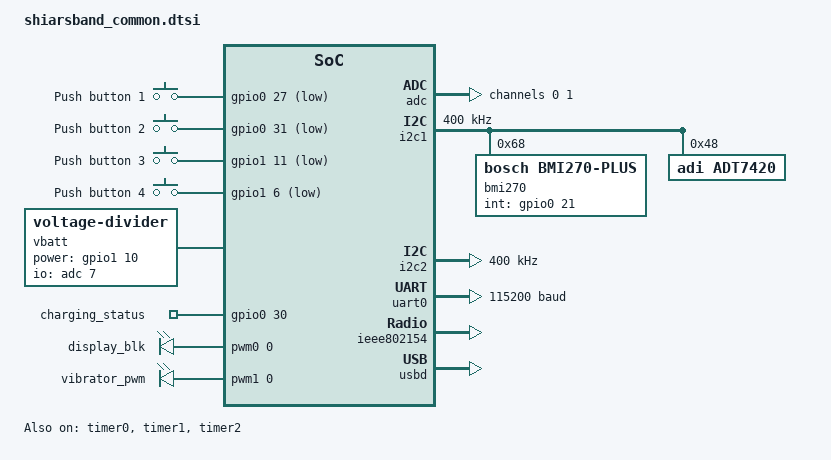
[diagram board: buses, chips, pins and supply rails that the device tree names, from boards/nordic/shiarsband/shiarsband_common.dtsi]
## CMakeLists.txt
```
cmake_minimum_required(VERSION 3.20.0)

set(BOARD_ROOT ${CMAKE_CURRENT_SOURCE_DIR})


message(STATUS "Current source directory: ${CMAKE_CURRENT_SOURCE_DIR}")

find_package(Zephyr REQUIRED HINTS $ENV{ZEPHYR_BASE})

project(shiars_band_app)
zephyr_include_directories(${ZEPHYR_BASE}/modules/lvgl)

add_subdirectory(drivers)


include_directories(src/)
# add_subdirectory(drivers)


# Include the source files from the main folder
FILE(GLOB app_sources src/*.c)
target_sources(app PRIVATE ${app_sources})

# Include source and header files from the subdirectories:
FILE(GLOB_RECURSE SOURCE_FILES 
    LIST_DIRECTORIES false
    "${CMAKE_CURRENT_SOURCE_DIR}/src/*/*.c"
    )

# Add source to the app target
target_sources(app PRIVATE ${SOURCE_FILES})
```

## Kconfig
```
menu "Zephyr Kernel"
    source "Kconfig.zephyr"
endmenu

menu "SHIARS Band"
config APP_VERSION
    string "Application version"
    default "1.0.0"
    help
      Defines the version of the application.
endmenu

    menu "boardtype"
    config USED_BOARD_ID
        int "used board id configuration"
        range 0 1
        default 0
        help
           0 - ublox dk board
           1 - zswatch board
    endmenu


menu "Nordic LED-Button BLE GATT service sample"

config BT_LBS_SECURITY_ENABLED
	bool "Enable security"
	default y
	select BT_SMP
	select BT_SETTINGS
	select FLASH
	select FLASH_PAGE_LAYOUT
	select FLASH_MAP
	select ZMS if SOC_FLASH_NRF_RRAM
	select NVS if !SOC_FLASH_NRF_RRAM
	select SETTINGS
	help
	  "Enable BLE security for the LED-Button service"

endmenu

#  menu "External"
#         choice EXTERNAL_BOSCH_SENSOR
#             bool
#             prompt "Select the function for the Bosch environment sensor."
#             help
#                 You have to disable the BME680 option in the Zephyr configuration to enable the Bosch BSEC option.
#             def_bool EXTERNAL_USE_BOSCH_BME688

#         config EXTERNAL_USE_BOSCH_BSEC
#             prompt "Use Bosch BSEC library"
#             depends on !BME680
#             select BME68X_EXT_IAQ

#         config EXTERNAL_USE_BOSCH_BME688
#             prompt "Use standard BME680 driver from Zephyr"
#         endchoice
#     endmenu
    
 rsource "drivers/Kconfig"


module = APP
module-str = APP
source "subsys/logging/Kconfig.template.log_config"
```

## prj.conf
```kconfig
CONFIG_MAIN_STACK_SIZE=2048
CONFIG_SYSTEM_WORKQUEUE_STACK_SIZE=10000
CONFIG_HEAP_MEM_POOL_SIZE=32000
CONFIG_CBPRINTF_FP_SUPPORT=y
CONFIG_DEBUG_THREAD_INFO=y

CONFIG_USED_BOARD_ID=0

CONFIG_ASSERT=y
CONFIG_REBOOT=y
CONFIG_BASE64=y

CONFIG_RETAINED_MEM=y
CONFIG_RETENTION=y
CONFIG_RETENTION_BOOT_MODE=y


CONFIG_GPIO=y
CONFIG_I2C=y
CONFIG_SENSOR=y
CONFIG_ADC=y
CONFIG_SPI=y

CONFIG_ADT7420=y
#CONFIG_BME680=y
#CONFIG_EXTERNAL_USE_BOSCH_BSEC=y
CONFIG_BMI270_PLUS=y
CONFIG_BMI270_PLUS_TRIGGER_GLOBAL_THREAD=y

# Display Settings 
# CONFIG_DISPLAY=y
# CONFIG_DISPLAY_LOG_LEVEL_ERR=n
# CONFIG_GC9A01=y
# #kscan

CONFIG_PINCTRL=y
CONFIG_PM_DEVICE=y
CONFIG_PM_DEVICE_RUNTIME=y

CONFIG_COUNTER=y
CONFIG_NRFX_TIMER1=y

CONFIG_REGULATOR=y
CONFIG_REGULATOR_FIXED=y

# NVS
CONFIG_FLASH=y
CONFIG_FLASH_MAP=y
CONFIG_MPU_ALLOW_FLASH_WRITE=y
CONFIG_FLASH_PAGE_LAYOUT=y
CONFIG_FLASH_MAP_LABELS=y

CONFIG_SETTINGS=y
CONFIG_NVS=y

# Bluetooth
CONFIG_BT=y
CONFIG_BT_HCI=y
CONFIG_BT_HCI_ACL_FLOW_CONTROL=y
CONFIG_BT_CTLR=n
# Enable chaining of multiple CTEs in periodic advertising
# CONFIG_BT_DEBUG_LOG=n

# Enable the LBS service
CONFIG_BT_LBS=y
CONFIG_BT_LBS_POLL_BUTTON=y
CONFIG_DK_LIBRARY=y

CONFIG_BT_SMP=y
CONFIG_BT_PERIPHERAL=y
CONFIG_BT_DIS=y
CONFIG_BT_DIS_PNP=n
CONFIG_BT_DIS_HW_REV=y
CONFIG_BT_DIS_MODEL="SHIARS"
CONFIG_BT_BAS=y
CONFIG_BT_HRS=n
CONFIG_BT_DEVICE_NAME="ELDGEEL"

# CONFIG_CRYPTO=y
# CONFIG_CRYPTO_AES=y

CONFIG_BT_DEVICE_APPEARANCE=194
CONFIG_BT_KEYS_OVERWRITE_OLDEST=y
CONFIG_BT_SETTINGS=y
CONFIG_BT_MAX_PAIRED=5
CONFIG_BT_MAX_CONN=1
CONFIG_BT_GATT_CLIENT=y
CONFIG_BT_GATT_CACHING=y
CONFIG_BT_GATT_NOTIFY_MULTIPLE=y

CONFIG_BT_BROADCASTER=y
CONFIG_BT_SMP_ALLOW_UNAUTH_OVERWRITE=y
CONFIG_BT_ECC=y
CONFIG_BT_CONN_TX_MAX=3

CONFIG_BT_L2CAP_TX_MTU=498
CONFIG_BT_BUF_ACL_RX_SIZE=502
CONFIG_BT_BUF_ACL_TX_SIZE=502

# Don't change this
CONFIG_BT_RECV_WORKQ_SYS=y

CONFIG_PICOLIBC=y
CONFIG_PICOLIBC_IO_FLOAT=y
CONFIG_POSIX_API=y

# Z-Bus
CONFIG_ZBUS=y
CONFIG_ZBUS_RUNTIME_OBSERVERS=y
CONFIG_ZBUS_CHANNEL_NAME=y
CONFIG_ZBUS_OBSERVER_NAME=y
CONFIG_ZBUS_CHANNELS_SYS_INIT_PRIORITY=1

CONFIG_RESET_ON_FATAL_ERROR=y

CONFIG_DEBUG_COREDUMP=y
CONFIG_DEBUG_COREDUMP_MEMORY_DUMP_MIN=y
CONFIG_RETENTION_MUTEX_FORCE_DISABLE=y
CONFIG_RETAINED_MEM_MUTEX_FORCE_DISABLE=y
CONFIG_RETENTION_BUFFER_SIZE=256

CONFIG_CJSON_LIB=y

CONFIG_PRINTK=y
# Logging
CONFIG_LOG=y
CONFIG_LOG_MODE_MINIMAL=y
CONFIG_SERIAL=y
CONFIG_CONSOLE=y
CONFIG_UART_CONSOLE=y

CONFIG_JSON_LIBRARY=y

CONFIG_APP_VERSION="1.0.1"
```

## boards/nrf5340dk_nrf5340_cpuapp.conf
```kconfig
#---------------
# FLASH
#-----------------
CONFIG_FLASH=y
CONFIG_FLASH_PAGE_LAYOUT=y
CONFIG_STREAM_FLASH=y
CONFIG_FLASH_MAP=y
CONFIG_NVS=y
CONFIG_NORDIC_QSPI_NOR=y
CONFIG_NORDIC_QSPI_NOR_FLASH_LAYOUT_PAGE_SIZE=4096

CONFIG_MPU_ALLOW_FLASH_WRITE=y

CONFIG_FILE_SYSTEM=y
CONFIG_FILE_SYSTEM_LITTLEFS=y
CONFIG_LV_Z_USE_FILESYSTEM=y
CONFIG_LV_IMG_CACHE_DEF_SIZE=10

CONFIG_FS_LITTLEFS_FC_HEAP_SIZE=16384

CONFIG_SPI_FLASH_LOADER=y

# NCS Partition Manager
# Make sure size matches dts
CONFIG_PM_PARTITION_REGION_SETTINGS_STORAGE_EXTERNAL=y
CONFIG_PM_PARTITION_SIZE_SETTINGS_STORAGE=0x100000
CONFIG_PM_PARTITION_REGION_LITTLEFS_EXTERNAL=y

# BME688 
# CONFIG_BME680=y


#---------------
# FLASH
#-----------------
CONFIG_FLASH=y
CONFIG_FLASH_PAGE_LAYOUT=y
CONFIG_STREAM_FLASH=y
CONFIG_FLASH_MAP=y
CONFIG_NVS=y
CONFIG_NORDIC_QSPI_NOR=y
CONFIG_NORDIC_QSPI_NOR_FLASH_LAYOUT_PAGE_SIZE=4096

CONFIG_MPU_ALLOW_FLASH_WRITE=y

CONFIG_FILE_SYSTEM=y
CONFIG_FILE_SYSTEM_LITTLEFS=y
CONFIG_LV_Z_USE_FILESYSTEM=y
CONFIG_LV_IMG_CACHE_DEF_SIZE=10

CONFIG_FS_LITTLEFS_FC_HEAP_SIZE=16384

CONFIG_PM_PARTITION_REGION_SETTINGS_STORAGE_EXTERNAL=y
CONFIG_PM_PARTITION_SIZE_SETTINGS_STORAGE=0x100000
```

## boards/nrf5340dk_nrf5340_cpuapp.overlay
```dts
&pinctrl {
    // Set to I2C pins that the sensors are connected to
    i2c1_default: i2c1_default {
        group1 {
            psels = <NRF_PSEL(TWIM_SDA, 1, 2)>,
                <NRF_PSEL(TWIM_SCL, 1, 3)>;
        };
    };

    i2c1_sleep: i2c1_sleep {
        group1 {
            psels = <NRF_PSEL(TWIM_SDA, 1, 2)>,
                <NRF_PSEL(TWIM_SCL, 1, 3)>;
            low-power-enable;
        };
    };

    // Set to I2C pins that the touch screen is connected to
    i2c2_default: i2c2_default {
        group1 {
            psels = <NRF_PSEL(TWIM_SDA, 1, 13)>,
                <NRF_PSEL(TWIM_SCL, 1, 14)>;
        };
    };

    i2c2_sleep: i2c2_sleep {
        group1 {
            psels = <NRF_PSEL(TWIM_SDA, 1, 13)>,
                <NRF_PSEL(TWIM_SCL, 1, 14)>;
            low-power-enable;
        };
    };

};

/ {
    chosen {
        nordic,pm-ext-flash = &mx25r64;
    };
    
    aliases {
        sw-top-right = &button1;
        sw-top-left = &button0;
        sw-bottom-right = &button3;
        sw-bottom-left = &button2;
    };

    vbatt {
        compatible = "voltage-divider";
        io-channels = <&adc 7>;
        output-ohms = <220000>;
        full-ohms = <(1500000 + 220000)>;
        power-gpios = <&gpio1 10 0>;
        zephyr,deferred-init;
    };

    /* Joystick */
    joy_x{
        io-channels = <&adc 0>;
    };
    joy_y{
        io-channels = <&adc 1>;
    };

};

&adc {
    #address-cells = <1>;
	#size-cells = <0>;
    status = "okay";
    channel@0 {
		reg = <0>;
		zephyr,gain = "ADC_GAIN_1_6";
		zephyr,reference = "ADC_REF_INTERNAL";
		zephyr,acquisition-time = <ADC_ACQ_TIME_DEFAULT>;
		zephyr,input-positive = <NRF_SAADC_AIN0>; 
		zephyr,resolution = <12>;
	};
    channel@1 {
		reg = <1>;
		zephyr,gain = "ADC_GAIN_1_6";
		zephyr,reference = "ADC_REF_INTERNAL";
		zephyr,acquisition-time = <ADC_ACQ_TIME_DEFAULT>;
		zephyr,input-positive = <NRF_SAADC_AIN1>; 
		zephyr,resolution = <12>;
	};
};

&gpiote {
    status = "okay";
};

&gpio0 {
    status = "okay";
};

&gpio1 {
    status = "okay";
};

&i2c1 {
    compatible = "nordic,nrf-twim";
    status = "okay";
    clock-frequency = <I2C_BITRATE_FAST>;
    zephyr,concat-buf-size = <512>;
    pinctrl-0 = <&i2c1_default>;
    pinctrl-1 = <&i2c1_sleep>;
    pinctrl-names = "default", "sleep";


    bmi270: bmi270@68 {
        compatible = "bosch,bmi270-plus";
        reg = <0x68>;
        status = "okay";
        int-gpios = <&gpio0 21 (GPIO_PULL_DOWN | GPIO_ACTIVE_HIGH)>;
        invert-x;
        invert-y;
    };

    adt7420: adt7420@48 {
        status = "okay";
        compatible = "adi,adt7420";
        label="ADT7420";
        reg = <0x48>;
    };

    
      
};

&i2c2 {
    compatible = "nordic,nrf-twim";
    status = "okay";
    clock-frequency = <I2C_BITRATE_FAST>;
    pinctrl-0 = <&i2c2_default>;
    pinctrl-1 = <&i2c2_sleep>;
    pinctrl-names = "default", "sleep";

};
/ {
	fstab {
		compatible = "zephyr,fstab";
		lvgl_lfs: lvgl_lfs {
			compatible = "zephyr,fstab,littlefs";
			mount-point = "/lvgl_lfs";
			partition = <&littlefs_storage>;
			automount;
			read-size = <1024>;
			prog-size = <512>;
			cache-size = <4096>;
			lookahead-size = <4096>;
			block-cycles = <512>;
		};
	};
};

/delete-node/ &storage_partition;

&mx25r64 {
	partitions {
		compatible = "fixed-partitions";
		#address-cells = <1>;
		#size-cells = <1>;

		littlefs_storage: partition@0 {
			label = "littlefs_storage";
			reg = <0x00000000 0x00200000>;
		};
		lvgl_raw_partition: partition@200000 {
			label = "lvgl_raw_partition";
			reg = <0x00200000 0x00200000>;
		};
        storage_partition: partition@400000 {
            label = "storage_partition";
            reg = <0x400000 0x100000 >;
        };
	};
};

/ {
    sram@2007FEFF {
        compatible = "zephyr,memory-region", "mmio-sram";
        reg = <0x2007FEFF 0x100>;
        zephyr,memory-region = "RetainedMem";
        status = "okay";

        retainedmem {
            compatible = "zephyr,retained-ram";
            status = "okay";
            #address-cells = <1>;
            #size-cells = <1>;

            retention0: retention@0 {
                compatible = "zephyr,retention";
                status = "okay";
                reg = <0x0 0xFB>;
                prefix = [04 fa];
                checksum = <1>;
            };
            // Last byte in RAM is for boot mode.
            // Du to debugger only supports writing 4 bytes at a time
            // we need to leave a 3 byte gap between the two retention areas.
            retention1: retention@FF {
                compatible = "zephyr,retention";
                status = "okay";
                reg = <0xFF 0x1>;
            };
        };
    };

    chosen {
            zephyr,boot-mode = &retention1;
    };
};

/*
* Reduce SRAM0 usage by 256 bytes to account for non-init area.
* The last 256 bytes of SRAM0 are used for retention memory.
*/
&sram0 {
    reg = <0x20000000 0x7FEFF>;
};
```

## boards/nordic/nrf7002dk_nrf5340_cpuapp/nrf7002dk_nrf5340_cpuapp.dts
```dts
/dts-v1/;
#include <nordic/nrf52832_ciaa.dtsi>
#include "nrf7002dk_nrf5340_cpuapp-pinctrl.dtsi"

/ {
	model = "Custom Board auto generated by nRF Connect for VS Code";
	compatible = "nordic,custom-board-name";

	chosen {
		zephyr,sram = &sram0;
		zephyr,flash = &flash0;
		zephyr,code-partition = &slot0_partition;
	};
};

&flash0 {
	partitions {
		compatible = "fixed-partitions";
		#address-cells = <1>;
		#size-cells = <1>;

		boot_partition: partition@0 {
			label = "mcuboot";
			reg = <0x00000000 DT_SIZE_K(48)>;
		};

		slot0_partition: partition@c000 {
			label = "image-0";
			reg = <0x0000c000 DT_SIZE_K(220)>;
		};

		slot1_partition: partition@43000 {
			label = "image-1";
			reg = <0x00043000 DT_SIZE_K(220)>;
		};

		storage_partition: partition@7a000 {
			label = "storage";
			reg = <0x0007a000 DT_SIZE_K(24)>;
		};
	};
};
```

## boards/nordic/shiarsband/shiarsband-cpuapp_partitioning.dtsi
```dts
/*
 * Default Flash planning for Application MCU.
 *
 * Zephyr build for nRF5340 with ARM TrustZone-M support, implies building
 * Secure and Non-Secure Zephyr images.
 *
 * Secure image will be placed, by default, in flash0 (or in slot0, if MCUboot
 * is present). Secure image will use sram0 for system memory.
 *
 * Non-Secure image will be placed in slot0_ns, and use sram0_ns for system
 * memory.
 *
 * Note that the Secure image only requires knowledge of the beginning of the
 * Non-Secure image (not its size).
 */
// &flash0 {
// 	partitions {
// 		compatible = "fixed-partitions";
// 		#address-cells = <1>;
// 		#size-cells = <1>;

// 		boot_partition: partition@0 {
// 			label = "mcuboot";
// 			reg = <0x00000000 DT_SIZE_K(64)>;
// 		};

// 		slot0_partition: partition@10000 {
// 			label = "image-0";
// 			reg = <0x00010000 DT_SIZE_K(256)>;
// 		};

// 		slot0_ns_partition: partition@50000 {
// 			label = "image-0-nonsecure";
// 			reg = <0x00050000 DT_SIZE_K(192)>;
// 		};

// 		slot1_partition: partition@80000 {
// 			label = "image-1";
// 			reg = <0x00080000 DT_SIZE_K(256)>;
// 		};

// 		slot1_ns_partition: partition@c0000 {
// 			label = "image-1-nonsecure";
// 			reg = <0x000c0000 DT_SIZE_K(192)>;
// 		};

// 		/* 0xf0000 to 0xf7fff reserved for TF-M partitions */
// 		storage_partition: partition@f8000 {
// 			label = "storage";
// 			reg = <0x000f8000 DT_SIZE_K(32)>;
// 		};
// 	};
// };

/* Default SRAM planning when building for nRF5340 with ARM TrustZone-M support
 * - Lowest 256 kB SRAM allocated to Secure image (sram0_s)
 * - Middle 192 kB allocated to Non-Secure image (sram0_ns)
 * - Upper 64 kB SRAM allocated as Shared memory (sram0_shared)
 *   (see {board}_shared_sram.dtsi)
 */
// / {
// 	reserved-memory {
// 		#address-cells = <1>;
// 		#size-cells = <1>;
// 		ranges;

// 		/* Zephyr image(s) memory */
// 		sram0_image: image@20000000 {
// 			reg = <0x20000000 DT_SIZE_K(448)>;
// 		};

// 		/* Secure image memory */
// 		sram0_s: image_s@20000000 {
// 			reg = <0x20000000 DT_SIZE_K(256)>;
// 		};

// 		/* Non-Secure image memory */
// 		sram0_ns: image_ns@20040000 {
// 			reg = <0x20040000 DT_SIZE_K(192)>;
// 		};
// 	};
// };

&slot0_partition {
	reg = <0x00010000 0x40000>;
};

&slot0_ns_partition {
	reg = <0x00050000 0x30000>;
};

&slot1_partition {
	reg = <0x00080000 0x40000>;
};

&slot1_ns_partition {
	reg = <0x000c0000 0x30000>;
};

/* Default SRAM planning when building for nRF5340 with
 * ARM TrustZone-M support
 * - Lowest 256 kB SRAM allocated to Secure image (sram0_s)
 * - Middle 192 kB allocated to Non-Secure image (sram0_ns)
 * - Upper 64 kB SRAM allocated as Shared memory (sram0_shared)
 *   (see nrf5340_shared_sram_planning_conf.dtsi)
 */
 &sram0_image {
	reg = <0x20000000 DT_SIZE_K(448)>;
};

&sram0_s {
	reg = <0x20000000 0x40000>;
};

&sram0_ns {
	reg = <0x20040000 0x30000>;
};

#include "shiarsband-shared_sram.dtsi"
```

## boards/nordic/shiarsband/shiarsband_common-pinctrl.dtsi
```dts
/*
 * Copyright (c) 2022 Nordic Semiconductor
 * SPDX-License-Identifier: Apache-2.0
 */


 &pinctrl {
	/*Pin: Display Back Light */
		pwm0_default: pwm0_default {
			group1 {
				psels = <NRF_PSEL(PWM_OUT0, 0, 6)>;
			};
		};
	
		pwm0_sleep: pwm0_sleep {
			group1 {
				psels = <NRF_PSEL(PWM_OUT0, 0, 6)>;
				low-power-enable;
			};
		};
	/*Pin: Vibrator Motor driver */
		pwm1_default: pwm1_default {
			group1 {
				psels = <NRF_PSEL(PWM_OUT0, 1, 15)>;
			};
		};
	
		pwm1_sleep: pwm1_sleep {
			group1 {
				psels = <NRF_PSEL(PWM_OUT0, 1, 15)>;
				low-power-enable;
			};
		};
	/*Pin:  Sensor */
		i2c1_default: i2c1_default {
			group1 {
				psels = <NRF_PSEL(TWIM_SDA, 0, 10)>,
					<NRF_PSEL(TWIM_SCL, 0,7)>;
			};
		};
	
		i2c1_sleep: i2c1_sleep {
			group1 {
				psels = <NRF_PSEL(TWIM_SDA, 0, 10)>,
					<NRF_PSEL(TWIM_SCL, 0, 7)>;
				low-power-enable;
			};
		};
	/*Pin: tOUCH Sensors */
		i2c2_default: i2c2_default {
			group1 {
				psels = <NRF_PSEL(TWIM_SDA, 1, 2)>,
					<NRF_PSEL(TWIM_SCL, 1, 3)>;
			};
		};
	
		i2c2_sleep: i2c2_sleep {
			group1 {
				psels = <NRF_PSEL(TWIM_SDA, 1, 2)>,
					<NRF_PSEL(TWIM_SCL, 1, 3)>;
				low-power-enable;
			};
		};
	/*Pin: Display */
		uart0_default: uart0_default {
			group1 {
				psels = <NRF_PSEL(UART_TX, 1, 13)>;
			};
		};
	
		uart0_sleep: uart0_sleep {
			group1 {
				psels = <NRF_PSEL(UART_TX, 1, 13)>;
				low-power-enable;
			};
		};
		
	};
	
```

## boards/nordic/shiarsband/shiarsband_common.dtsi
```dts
#include "shiarsband_common-pinctrl.dtsi"

/{
    chosen{
        zephyr,console = &uart0;
		zephyr,shell-uart = &uart0;
		zephyr,uart-mcumgr = &uart0;
		zephyr,bt-mon-uart = &uart0;
		zephyr,bt-c2h-uart = &uart0;
        zephyr,bt-hci-ipc = &ipc0;
        zephyr,ieee802154 = &ieee802154;
    };
    
    buttons {
		compatible = "gpio-keys";
        button0: button_0 {
            gpios = <&gpio0 27 (GPIO_PULL_UP | GPIO_ACTIVE_LOW)>;
            label = "Push button 1";
        };
        button1: button_1 {
            gpios = <&gpio0 31 (GPIO_PULL_UP | GPIO_ACTIVE_LOW)>;
            label = "Push button 2";
        };
        button2: button_2 {
            gpios = <&gpio1 11 (GPIO_PULL_UP | GPIO_ACTIVE_LOW)>;
            label = "Push button 3";
        };
        button3: button_3 {
            gpios = <&gpio1 6 (GPIO_PULL_UP | GPIO_ACTIVE_LOW)>;
            label = "Push button 4";
        };
	};
    /*Pin: Battery Monitor */
	vbatt {
        compatible = "voltage-divider";
        io-channels = <&adc 7>;
        output-ohms = <220000>;
        full-ohms = <(1500000 + 220000)>;
        power-gpios = <&gpio1 10 0>;
    };
    /*Pin: Charger */
    charger {
        compatible = "gpio-keys";
        charging_status: charging_status {
            gpios = <&gpio0 30 (GPIO_PULL_UP | GPIO_ACTIVE_HIGH)>;
        };
    };
    /* Joystick */
    joy_x{
        io-channels = <&adc 0>;
    };
    joy_y{
        io-channels = <&adc 1>;
    };
    
    /* These aliases are provided for compatibility with samples */

    pwmleds {
        compatible = "pwm-leds";
        display_blk: pwm_led_0 {
            pwms = <&pwm0 0 PWM_MSEC(20) PWM_POLARITY_INVERTED>;
        };
        vibrator_pwm: pwm_led_1 {
            pwms = <&pwm1 0 PWM_MSEC(20) 0>;
        };
    };

	aliases {
	    sw0 = &button0;/*Button:- Select */
        sw1 = &button1;/*Button:- Down */
        sw2 = &button2;/*Button:- Back */
        sw3 = &button3;/*Button:- Up */
        sw-select = &button0;
        sw-back = &button2;
        sw-up = &button3;
        sw-down = &button1;
        watchdog0 = &wdt0;
        mcuboot-button0 = &button1;
    };
};

&adc {
    #address-cells = <1>;
	#size-cells = <0>;
    status = "okay";
    channel@0 {
		reg = <0>;
		zephyr,gain = "ADC_GAIN_1_6";
		zephyr,reference = "ADC_REF_INTERNAL";
		zephyr,acquisition-time = <ADC_ACQ_TIME_DEFAULT>;
		zephyr,input-positive = <NRF_SAADC_AIN0>; 
		zephyr,resolution = <12>;
	};
    channel@1 {
		reg = <1>;
		zephyr,gain = "ADC_GAIN_1_6";
		zephyr,reference = "ADC_REF_INTERNAL";
		zephyr,acquisition-time = <ADC_ACQ_TIME_DEFAULT>;
		zephyr,input-positive = <NRF_SAADC_AIN1>; 
		zephyr,resolution = <12>;
	};
};

&gpiote {
	status = "okay";
};

&gpio0 {
	status = "okay";
    sense-edge-mask = < 0xffffffff >;
};

&gpio1 {
	status = "okay";
};

&i2c1 {
	compatible = "nordic,nrf-twim";
    status = "okay";
    clock-frequency = <I2C_BITRATE_FAST>;
    zephyr,concat-buf-size = <512>;

    pinctrl-0 = <&i2c1_default>;
    pinctrl-1 = <&i2c1_sleep>;
    pinctrl-names = "default", "sleep";

    bmi270: bmi270@68 {
        compatible = "bosch,bmi270-plus";
        reg = <0x68>;
        status = "okay";
        int-gpios = <&gpio0 21 (GPIO_PULL_DOWN | GPIO_ACTIVE_HIGH)>;
        invert-x;
        invert-y;
    };

    adt7420: adt7420@48 {
        compatible = "adi,adt7420";
        reg = <0x48>;
        status = "okay";
    };

    // bme688: bme688@76 {
    //     compatible = "bosch,bme680";
    //     reg = <0x76>;
    //     status = "okay";
    // };

    // lis2mdl: lis2mdl@1e {
    //     compatible = "st,lis2mdl";
    //     reg = <0x1e>;
    //     irq-gpios = <&gpio0 24 0>;
    // };

    // max30101@57 {
    //     status = "okay";
    //     compatible = "maxim,max30101";
    //     reg = <0x57>;
    //     //irq-gpios = <&gpio0 22 GPIO_ACTIVE_HIGH;
    // };

    // bmp581: bmp581@47 {
    //     compatible = "bosch,bmp581";
    //     reg = <0x47>;
    //     int-gpios = <&gpio0 25 (GPIO_PULL_UP | GPIO_ACTIVE_LOW)>;
    // };

    // cst816s: cst816s@15 {
	// 	compatible = "hynitron,cst816s";
	// 	reg = <0x15>;
	// 	irq-gpios = <&gpio1 0 GPIO_ACTIVE_LOW>;
	// 	rst-gpios = <&gpio0 20 GPIO_ACTIVE_LOW>;
	// };

    // max32664: max32664@55{
    //     status = "okay";
    //     compatible = "maxim,max32664";
    //     reg = < 0x55 >;
    //     // label = "MAX32664";
    //     rst-gpios = <&gpio0 13 GPIO_ACTIVE_HIGH>;
    //     mfio-gpios = <&gpio1 9 GPIO_PULL_UP>;
    // };
};

&i2c2 {
    compatible = "nordic,nrf-twim";
    status = "okay";
    clock-frequency = <I2C_BITRATE_FAST>;
    // zephyr,concat-buf-size = <512>;
    pinctrl-0 = <&i2c2_default>;
    pinctrl-1 = <&i2c2_sleep>;
    pinctrl-names = "default", "sleep";

    // cst816s: cst816s@15 {
	// 	compatible = "hynitron,cst816s";
	// 	reg = <0x15>;
	// 	irq-gpios = <&gpio1 0 GPIO_ACTIVE_LOW>;
	// 	rst-gpios = <&gpio0 20 GPIO_ACTIVE_LOW>;
	// };
};

/* UART0 GPIOs can be configured for other use-cases */
&uart0 {
    current-speed = <115200>;
    status = "okay";
    pinctrl-0 = <&uart0_default>;
    pinctrl-1 = <&uart0_sleep>;
    pinctrl-names = "default", "sleep";
};

&timer0 {
    status = "okay";
};

&timer1 {
    status = "okay";
};

&timer2 {
    status = "okay";
};

&flash0 {
    partitions {
        compatible = "fixed-partitions";
        #address-cells = <1>;
        #size-cells = <1>;

        boot_partition: partition@0 {
            label = "mcuboot";
            reg = <0x00000000 0x00010000>;
        };
        slot0_partition: partition@10000 {
            label = "image-0";
        };
        slot0_ns_partition: partition@50000 {
            label = "image-0-nonsecure";
        };
        slot1_partition: partition@80000 {
            label = "image-1";
        };
        slot1_ns_partition: partition@c0000 {
            label = "image-1-nonsecure";
        };
        scratch_partition: partition@f0000 {
            label = "image-scratch";
            reg = <0x000f0000 0xa000>;
        };
        storage_partition: partition@fa000 {
            label = "storage";
            reg = <0x000fa000 0x00006000>;
        };
    };
};

&ieee802154 {
	status = "okay";
};

zephyr_udc0: &usbd {
	compatible = "nordic,nrf-usbd";
	status = "okay";
};

/ {

	reserved-memory {
		#address-cells = <1>;
		#size-cells = <1>;
		ranges;

		sram0_image: image@20000000 {
			/* Zephyr image(s) memory */
		};

		sram0_s: image_s@20000000 {
			/* Secure image memory */
		};

		sram0_ns: image_ns@20040000 {
			/* Non-Secure image memory */
		};
	};
};

#include "shiarsband_common-pinctrl.dtsi"
```

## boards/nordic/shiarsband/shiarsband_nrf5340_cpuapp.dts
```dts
/dts-v1/;
#include <nordic/nrf5340_cpuapp_qkaa.dtsi>
#include "shiarsband_common.dtsi"

/ {
	model = "Custom Board auto generated by nRF Connect for VS Code (CPUAPP)";
	compatible = "nordic,shiarsband-cpuapp";

	chosen {
		zephyr,sram = &sram0_image;
		zephyr,flash = &flash0;
		zephyr,code-partition = &slot0_partition;
		zephyr,sram-secure-partition = &sram0_s;
		zephyr,sram-non-secure-partition = &sram0_ns;
	};
	
	aliases {
		watchdog0 = &wdt0;
	};
};

#include "shiarsband-cpuapp_partitioning.dtsi"
#include "shiarsband-shared_sram.dtsi"
```

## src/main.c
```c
#include "includes.h"
#include "sensors/sensor_defines.h"


LOG_MODULE_REGISTER(main, LOG_LEVEL_DBG);
// static lv_obj_t *label_hello;

typedef enum ui_state {
    UI_STATE_INIT,          // Initialized State
    UI_STATE_DISP_OFF,      // Display off state
    UI_STATE_WATCHFACE,     // Watchface or home page
    UI_STATE_APP_MNGR,      // Application Manager
    UI_STATE_WF_SELCTR,     // Watchface selector
} ui_state_t;


uint64_t last_user_activity_dtctd_time = 0;

static void fetch_and_log_sensor_data(void) {
    Sensor_Bag_s sensor_info;
    fetch_sensor_bag(&sensor_info);  // Fetch sensor data

    LOG_DBG("Accel: x=%d, y=%d, z=%d", sensor_info.imu_snsr.xyz.x, sensor_info.imu_snsr.xyz.y, sensor_info.imu_snsr.xyz.z);
    LOG_DBG("Activity: %s", imu_activity_name[sensor_info.imu_snsr.step_activity]);
    LOG_DBG("Steps: %u", sensor_info.imu_snsr.step.count);

    // LOG_DBG("Battery: %u%% (%d mV)", sensor_info.bty.percentage, sensor_info.bty.mv);
}

/* Initialization work */
static void run_init_work(struct k_work *item) {
   ARG_UNUSED(item); // Prevents generation of warning

}

K_WORK_DEFINE(init_work, run_init_work);

/* Watch App Management */
K_THREAD_STACK_DEFINE(t_app_mngmnt_stack_area, STACKSIZE);
static struct k_thread t_app_mngmnt_task;


int main(void) {
    k_thread_create(&t_app_mngmnt_task, t_app_mngmnt_stack_area, K_THREAD_STACK_SIZEOF(t_app_mngmnt_stack_area),
                    t_watch_app_mngmnt_monitor, NULL, NULL, NULL, PRIORITY, 0, K_FOREVER);

    k_thread_name_set(&t_app_mngmnt_task, "t_watch_app_mngmnt_monitor");
    k_thread_start(&t_app_mngmnt_task);
    k_work_submit(&init_work);
    sensor_init();
    init_ble();
    return 0;
}

void t_watch_app_mngmnt_monitor(void *arg1, void *arg2, void *arg3) {
    ARG_UNUSED(arg1); // Prevents generation of warning
    ARG_UNUSED(arg2);
    ARG_UNUSED(arg3);


    #if CONFIG_USED_BOARD_ID == BOARD_ID_AWAN_WATCH
    environment_sensor_init();
    imu_sensor_init();
    imu_sensor_feature_enable(IMU_SNSR_FEATURE_ACCEL,false);
    imu_sensor_feature_enable(IMU_SNSR_FEATURE_STEP_ACTIVITY,false);
    imu_sensor_feature_enable(IMU_SNSR_FEATURE_STEP_COUNTER,false);
    #endif

    while (true) {
        LOG_DBG("RUN FOR YOUR LIFE");
        fetch_and_log_sensor_data();
        battery_int();
        k_msleep(5000); // Sleep for 5 seconds before fetching the data again
    }
}
```

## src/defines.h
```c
#ifndef DEFINES
#define DEFINES

#define BOARD_ID_NRF_BOARD    0 //ublox development kit
#define BOARD_ID_AWAN_WATCH   1 //Awan Watch

/*BLE ADMIN Commands Defined IDs*/
#define AW_ADMIN_CMD_TIME_SYNC    1
#define AW_ADMIN_CMD_MODE_CHANGE  2
#define AW_ADMIN_CMD_NOTIFICATION 3



//define MAX_NO_APPS     15
// #define INVALID_APP_ID  0xFF

/*Application Priorities*/
// #define HEARTRATE_APP_PRIORITY CONFIG_APPLICATION_INIT_PRIORITY + 1
// #define SPO2_APP_PRIORITY      CONFIG_APPLICATION_INIT_PRIORITY + 2
// #define ACC_APP_PRIORITY       CONFIG_APPLICATION_INIT_PRIORITY + 3
// #define TIMER_APP_PRIORITY     CONFIG_APPLICATION_INIT_PRIORITY + 4
// #define CALENDAR_APP_PRIORITY  CONFIG_APPLICATION_INIT_PRIORITY + 5

#endif /* DEFINES */
```

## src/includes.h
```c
#ifndef INCLUDES_H_
#define INCLUDES_H_

/*Standard Headers*/
#include <stdio.h>
#include <string.h>
#include <stdlib.h>
#include <unistd.h>
#include <stdint.h>
#include <errno.h>
#include <inttypes.h>
#include <time.h>
#include <sys/time.h>
#include <math.h>
// #include <mbedtls/aes.h>
/*ZEPHYR Headers*/
#include <zephyr/init.h>
#include <zephyr/kernel.h>
#include <zephyr/device.h>
#include <zephyr/devicetree.h>
#include <zephyr/logging/log.h>
#include <zephyr/logging/log_ctrl.h>
#include <zephyr/types.h>
#include <zephyr/sys/util.h>
#include <zephyr/sys/reboot.h>

#include <zephyr/bluetooth/bluetooth.h>
#include <zephyr/bluetooth/hci.h>
#include <zephyr/bluetooth/conn.h>
#include <zephyr/bluetooth/uuid.h>
#include <zephyr/bluetooth/gatt.h>

#include <zephyr/data/json.h>
#include <zephyr/storage/flash_map.h>

#include <zephyr/zbus/zbus.h>
#include <zephyr/pm/device.h>
#include <zephyr/drivers/gpio.h>
#include <zephyr/drivers/adc.h>
#include <zephyr/drivers/sensor.h>

#include <zephyr/settings/settings.h>
#include <zephyr/task_wdt/task_wdt.h>
#include <zephyr/fatal.h>
#include <zephyr/retention/bootmode.h>
/*USER Headers*/
#include "defines.h"

#include "defines.h"
#include "storage/storage.h"
#include "battery/battery.h"
#include "json_struct_defines.h"


#include "events/watch_periodic_events.h"
#include "events/env_sensor_event.h"
#include "events/imu_sensor_event.h"
#include "events/battery_event.h"

// #include "drivers/display_controller.h"
#include "events/periodic_event_def.h"
#include "battery/battery.h"
#include "ble/ble_conn.h"


#include "sensors/environment_sensor.h"
#include "sensors/imu_sensor.h"


#include "sensors/sensor_bag.h"
#include "sensors/temp_sensor.h"


#include "main.h"
#endif /* !INCLUDES_H_ */
```

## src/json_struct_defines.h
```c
#ifndef JSON_STRUCT_DEFINES_H
#define JSON_STRUCT_DEFINES_H

struct Admin_BLE_Rx_Cmd_S{
    int cmd;
    const char * param_1;
    const char * param_2;    
};

#endif /* DEFINES */
```

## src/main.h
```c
#ifndef MAIN_H
#define MAIN_H

/* size of stack area used by thread */
#define STACKSIZE 2048
/* scheduling priority used by thread */
#define PRIORITY 7

void t_watch_app_mngmnt_monitor(void *arg1,void *arg2,void *arg3);

#endif /* MAIN_H */
```
